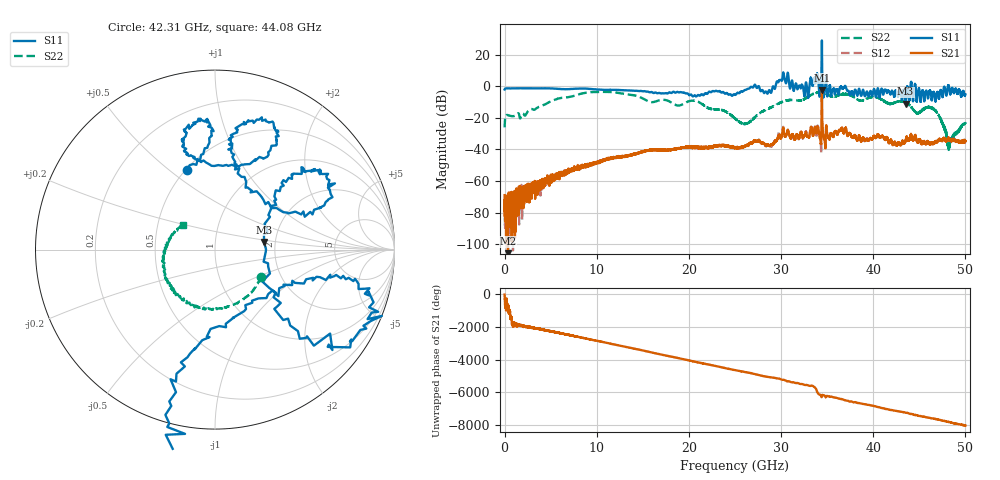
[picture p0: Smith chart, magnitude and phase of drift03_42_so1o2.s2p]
!Created with skrf (http://scikit-rf.org).
# Hz S RI R 50.0
!freq ReS11 ImS11 ReS21 ImS21 ReS12 ImS12 ReS22 ImS22
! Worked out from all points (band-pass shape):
!   10000 points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, 5.3 MHz to 50 GHz, reference 50 ohm
!   highest |S21| = -2.45 dB at 34.43 GHz (marker M1); lowest = -105.6 dB at 370.3 MHz (marker M2)
!   |S21| within 3 dB of the highest: 34.42763 GHz to 34.43437 GHz (6.733 MHz wide, 0.0196 % of centre)
!   lowest |S11| = -11.2 dB at 43.51 GHz (marker M3), VSWR 1.77, Z = 87.2 + j8 ohm
!   |S11| at or under -10 dB: 43.48448 GHz to 43.54128 GHz (56.8 MHz wide, 0.131 % of centre)
!   |S22| runs from -40.3 to -3.6 dB; largest |S21 - S12| = 0.24
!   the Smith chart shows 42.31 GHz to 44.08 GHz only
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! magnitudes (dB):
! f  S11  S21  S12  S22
! 5.3 MHz  -2.1  -68.9  -76.1  -26.1
! 370.3 MHz  -1.4  -105.6  -75.2  -18.4
! 3.055 GHz  -1.4  -65.7  -62.9  -14.6
! 8.34 GHz  -1.5  -50.7  -51.0  -4.7
! 16.67 GHz  -4.4  -40.3  -40.3  -9.2
! 20.74 GHz  -6.3  -38.6  -38.6  -9.3
! 25.01 GHz  -5.5  -38.6  -38.7  -20.5
! 26.23 GHz  -2.2  -37.3  -37.6  -23.6
! 27.38 GHz  -1.1  -35.1  -35.0  -18.5
! 28.72 GHz  -2.5  -37.7  -37.6  -14.0
! 30.14 GHz  4.3  -29.5  -29.6  -9.9
! 32.74 GHz  2.0  -29.5  -29.2  -7.4
! 33.34 GHz  2.7  -27.3  -27.6  -5.3
! 33.82 GHz  4.0  -29.0  -29.5  -4.3
! 34.43 GHz  28.9  -2.5  -4.6  -4.0
! 36.49 GHz  -0.2  -27.9  -27.9  -5.3
! 41.67 GHz  -3.0  -35.5  -35.4  -10.9
! 43.51 GHz  -11.2  -34.5  -34.6  -10.2
! 44.74 GHz  -8.8  -34.8  -34.8  -17.2
! 46.69 GHz  -6.5  -35.6  -35.5  -15.2
! 48.22 GHz  -0.7  -33.2  -32.9  -36.9
! 50 GHz  -5.2  -34.7  -35.1  -23.5
